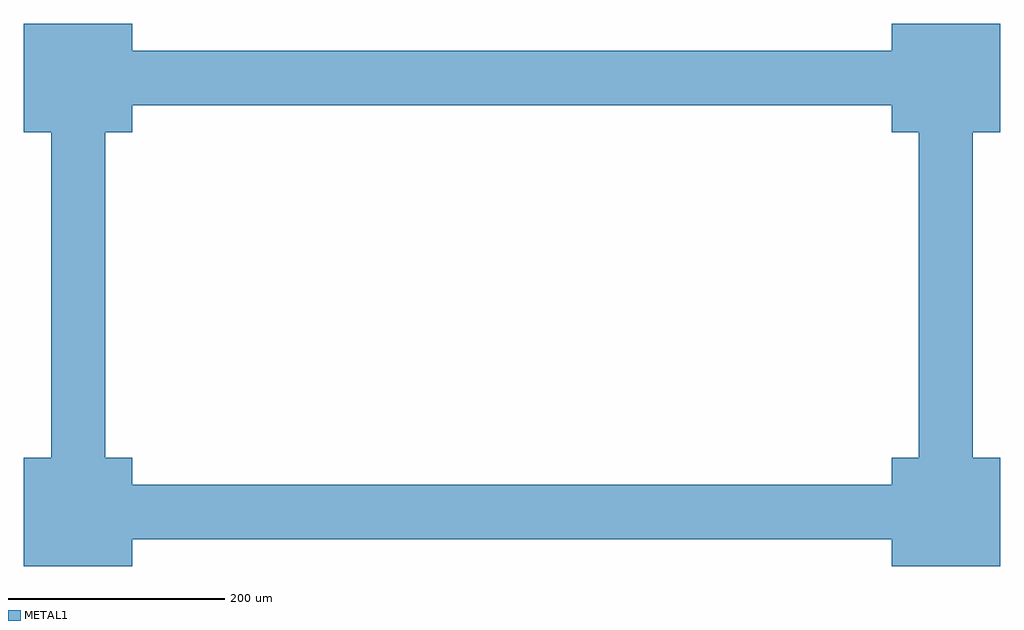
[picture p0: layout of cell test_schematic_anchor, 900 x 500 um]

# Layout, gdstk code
import gdstk
lib = gdstk.Library(unit=1e-6, precision=1e-09)
def R(c, l, rs):  # rectangles x0, y0, x1, y1
    for r in rs: c.add(gdstk.rectangle(r[:2], r[2:], *l))
METAL1 = (20, 0)

pad_m1 = lib.new_cell('pad_m1')
R(pad_m1, METAL1, [(-50,-50,50,50)])

test_schematic_anchor = lib.new_cell('test_schematic_anchor')
R(test_schematic_anchor, METAL1, [(-350,-425,350,-375), (-425,-350,-375,-50), (375,-350,425,-50), (-350,-25,350,25)])
test_schematic_anchor.add(gdstk.Reference(pad_m1, (400,-400)))
test_schematic_anchor.add(gdstk.Reference(pad_m1, (-400,-400)))
test_schematic_anchor.add(gdstk.Reference(pad_m1, (400,0)))
test_schematic_anchor.add(gdstk.Reference(pad_m1, (-400,0)))

lib.write_gds('test_schematic_anchor.gds')
